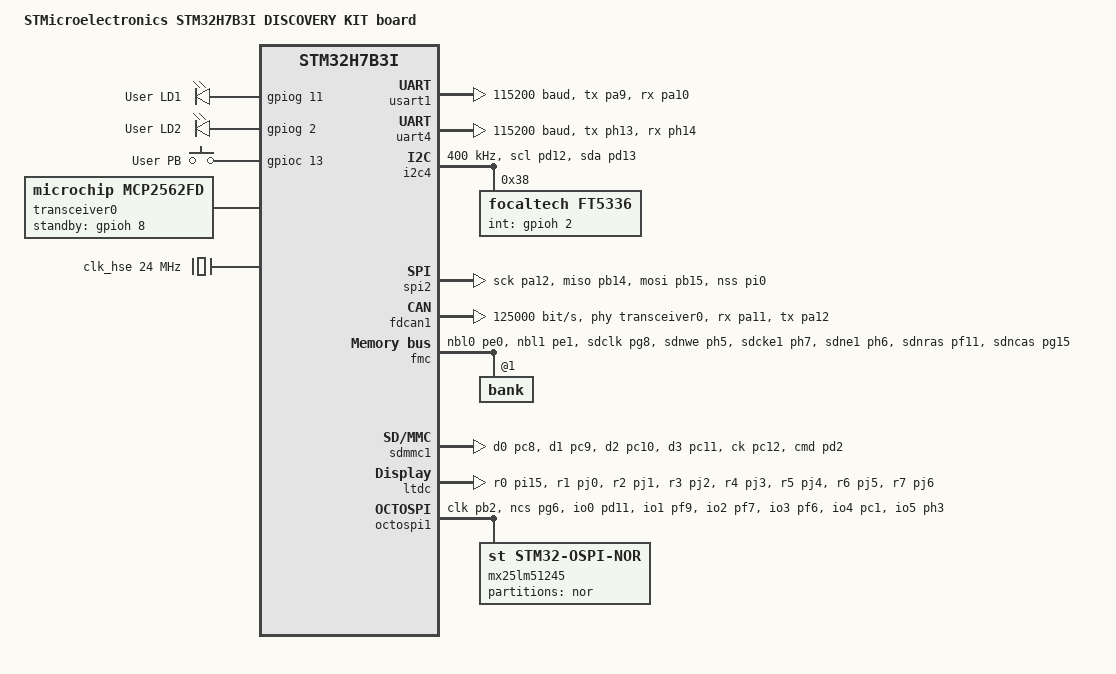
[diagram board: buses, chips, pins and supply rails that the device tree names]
/*
 * Copyright (c) 2022 Byte-Lab d.o.o. <dev@byte-lab.com>
 *
 * SPDX-License-Identifier: Apache-2.0
 */

/dts-v1/;
#include <st/h7/stm32h7b3Xi.dtsi>
#include <st/h7/stm32h7b3lihxq-pinctrl.dtsi>
#include <zephyr/dt-bindings/memory-attr/memory-attr-arm.h>
#include "arduino_r3_connector.dtsi"
#include <zephyr/dt-bindings/input/input-event-codes.h>

/ {
	model = "STMicroelectronics STM32H7B3I DISCOVERY KIT board";
	compatible = "st,stm32h7b3i-dk";

	chosen {
		zephyr,console = &usart1;
		zephyr,shell-uart = &usart1;
		zephyr,sram = &sram0;
		zephyr,flash = &flash0;
		zephyr,display = &ltdc;
		zephyr,canbus = &fdcan1;
	};

	leds {
		compatible = "gpio-leds";
		red_led: led_0 {
			gpios = <&gpiog 11 GPIO_ACTIVE_HIGH>;
			label = "User LD1";
		};
		blue_led: led_1 {
			gpios = <&gpiog 2 GPIO_ACTIVE_HIGH>;
			label = "User LD2";
		};
	};

	gpio_keys {
		compatible = "gpio-keys";
		user_button: button {
			label = "User PB";
			gpios = <&gpioc 13 GPIO_ACTIVE_HIGH>;
			zephyr,code = <INPUT_KEY_0>;
		};
	};

	lvgl_pointer {
		compatible = "zephyr,lvgl-pointer-input";
		input = <&ft5336>;
	};

	sdram2: sdram@d0000000 {
		compatible = "zephyr,memory-region", "mmio-sram";
		device_type = "memory";
		reg = <0xd0000000 DT_SIZE_M(16)>;
		zephyr,memory-region = "SDRAM2";
		zephyr,memory-attr = <( DT_MEM_ARM(ATTR_MPU_RAM) )>;
	};

	transceiver0: can-phy0 {
		compatible = "microchip,mcp2562fd", "can-transceiver-gpio";
		standby-gpios = <&gpioh 8 GPIO_ACTIVE_HIGH>;
		max-bitrate = <5000000>;
		#phy-cells = <0>;
	};

	aliases {
		led0 = &blue_led;
		led1 = &red_led;
		sw0 = &user_button;
		spi-flash0 = &mx25lm51245;
	};
};

&clk_hsi48 {
	status = "okay";
};

&clk_hse {
	clock-frequency = <DT_FREQ_M(24)>;
	status = "okay";
};

/* PLL1P is used for system clock (280 MHz), PLL1Q is used for FDCAN bit quantum clock (80 MHz) */
&pll {
	div-m = <12>;
	mul-n = <280>;
	div-p = <2>;
	div-q = <7>;
	div-r = <2>;
	clocks = <&clk_hse>;
	status = "okay";
};

/* PLL3R is used for outputting 9 MHz pixel clock for LTDC */
&pll3 {
	div-m = <8>;
	mul-n = <60>;
	div-p = <2>;
	div-q = <2>;
	div-r = <20>;
	clocks = <&clk_hse>;
	status = "okay";
};

&rcc {
	clocks = <&pll>;
	clock-frequency = <DT_FREQ_M(280)>;
	d1cpre = <1>;
	hpre = <1>;
	d1ppre = <2>;
	d2ppre1 = <2>;
	d2ppre2 = <2>;
	d3ppre = <2>;
};

&usart1 {
	pinctrl-0 = <&usart1_tx_pa9 &usart1_rx_pa10>;
	pinctrl-names = "default";
	current-speed = <115200>;
	status = "okay";
};

&uart4 {
	pinctrl-0 = <&uart4_tx_ph13 &uart4_rx_ph14>;
	pinctrl-names = "default";
	current-speed = <115200>;
	status = "okay";
};

&i2c4 {
	pinctrl-0 = <&i2c4_scl_pd12 &i2c4_sda_pd13>;
	pinctrl-names = "default";
	clock-frequency = <I2C_BITRATE_FAST>;
	status = "okay";

	ft5336: ft5336@38 {
		compatible = "focaltech,ft5336";
		reg = <0x38>;
		int-gpios = <&gpioh 2 0>;
	};
};

&spi2 {
	pinctrl-0 = <&spi2_sck_pa12 &spi2_miso_pb14 &spi2_mosi_pb15 &spi2_nss_pi0>;
	pinctrl-names = "default";
	status = "okay";
};

/* Connect solder bridges SB3, SB4 and SB5 to use CAN connector (CN21) */
&fdcan1 {
	pinctrl-0 = <&fdcan1_rx_pa11 &fdcan1_tx_pa12>;
	pinctrl-names = "default";
	clocks = <&rcc STM32_CLOCK_BUS_APB1_2 0x00000100>,
		 <&rcc STM32_SRC_PLL1_Q FDCAN_SEL(1)>;
	phys = <&transceiver0>;
	bus-speed = <125000>;
	bus-speed-data = <1000000>;
	sample-point = <875>;
	sample-point-data = <875>;
	status = "okay";
};

&fmc {
	pinctrl-0 = <&fmc_nbl0_pe0 &fmc_nbl1_pe1
		     &fmc_sdclk_pg8 &fmc_sdnwe_ph5 &fmc_sdcke1_ph7
		     &fmc_sdne1_ph6 &fmc_sdnras_pf11 &fmc_sdncas_pg15
		     &fmc_a0_pf0 &fmc_a1_pf1 &fmc_a2_pf2 &fmc_a3_pf3 &fmc_a4_pf4
		     &fmc_a5_pf5 &fmc_a6_pf12 &fmc_a7_pf13 &fmc_a8_pf14
		     &fmc_a9_pf15 &fmc_a10_pg0 &fmc_a11_pg1
		     &fmc_a14_pg4 &fmc_a15_pg5 &fmc_d0_pd14 &fmc_d1_pd15
		     &fmc_d2_pd0 &fmc_d3_pd1 &fmc_d4_pe7 &fmc_d5_pe8 &fmc_d6_pe9
		     &fmc_d7_pe10 &fmc_d8_pe11 &fmc_d9_pe12 &fmc_d10_pe13
		     &fmc_d11_pe14 &fmc_d12_pe15 &fmc_d13_pd8 &fmc_d14_pd9
		     &fmc_d15_pd10>;
	pinctrl-names = "default";
	status = "okay";

	sdram {
		status = "okay";
		power-up-delay = <100>;
		num-auto-refresh = <8>;
		mode-register = <0x220>;
		refresh-rate = <0x603>;
		bank@1 {
			reg = <1>;
			st,sdram-control = <STM32_FMC_SDRAM_NC_9
						STM32_FMC_SDRAM_NR_12
						STM32_FMC_SDRAM_MWID_16
						STM32_FMC_SDRAM_NB_4
						STM32_FMC_SDRAM_CAS_2
						STM32_FMC_SDRAM_SDCLK_PERIOD_3
						STM32_FMC_SDRAM_RBURST_ENABLE
						STM32_FMC_SDRAM_RPIPE_2>;
			st,sdram-timing = <2 7 4 7 2 2 2>;
		};
	};
};

&sdmmc1 {
	pinctrl-0 = <&sdmmc1_d0_pc8 &sdmmc1_d1_pc9
		     &sdmmc1_d2_pc10 &sdmmc1_d3_pc11
		     &sdmmc1_ck_pc12 &sdmmc1_cmd_pd2>;
	pinctrl-names = "default";
	cd-gpios = <&gpioi 8 (GPIO_ACTIVE_LOW | GPIO_PULL_UP)>;
	status = "okay";
};

&ltdc {
	pinctrl-0 = <&ltdc_r0_pi15 &ltdc_r1_pj0 &ltdc_r2_pj1 &ltdc_r3_pj2
		     &ltdc_r4_pj3 &ltdc_r5_pj4 &ltdc_r6_pj5 &ltdc_r7_pj6
		     &ltdc_g0_pj7 &ltdc_g1_pj8 &ltdc_g2_pj9 &ltdc_g3_pj10
		     &ltdc_g4_pj11 &ltdc_g5_pk0 &ltdc_g6_pk1 &ltdc_g7_pk2
		     &ltdc_b0_pj12 &ltdc_b1_pj13 &ltdc_b2_pj14 &ltdc_b3_pj15
		     &ltdc_b4_pk3 &ltdc_b5_pk4 &ltdc_b6_pk5 &ltdc_b7_pk6
		     &ltdc_de_pk7 &ltdc_clk_pi14 &ltdc_hsync_pi12 &ltdc_vsync_pi13>;
	pinctrl-names = "default";
	disp-on-gpios = <&gpioa 2 GPIO_ACTIVE_HIGH>;
	bl-ctrl-gpios = <&gpioa 1 GPIO_ACTIVE_HIGH>;
	ext-sdram = <&sdram2>;
	status = "okay";

	width = <480>;
	height = <272>;
	pixel-format = <PANEL_PIXEL_FORMAT_RGB_565>;
	display-timings {
		compatible = "zephyr,panel-timing";
		de-active = <0>;
		pixelclk-active = <0>;
		hsync-active = <0>;
		vsync-active = <0>;
		hsync-len = <1>;
		vsync-len = <10>;
		hback-porch = <43>;
		vback-porch = <12>;
		hfront-porch = <8>;
		vfront-porch = <4>;
	};
	def-back-color-red = <0xFF>;
	def-back-color-green = <0xFF>;
	def-back-color-blue = <0xFF>;
};

&octospi1 {
	pinctrl-0 = <&octospim_p1_clk_pb2 &octospim_p1_ncs_pg6
		     &octospim_p1_io0_pd11 &octospim_p1_io1_pf9
		     &octospim_p1_io2_pf7 &octospim_p1_io3_pf6
		     &octospim_p1_io4_pc1 &octospim_p1_io5_ph3
		     &octospim_p1_io6_pg9 &octospim_p1_io7_pd7
		     &octospim_p1_dqs_pc5>;
	pinctrl-names = "default";

	status = "okay";

	mx25lm51245: ospi-nor-flash@90000000 {
		compatible = "st,stm32-ospi-nor";
		reg = <0x90000000 DT_SIZE_M(64)>; /* 512 Mbits */
		ospi-max-frequency = <DT_FREQ_M(50)>;
		spi-bus-width = <OSPI_OPI_MODE>;
		data-rate = <OSPI_DTR_TRANSFER>;
		status = "okay";

		partitions {
			   compatible = "fixed-partitions";
			   #address-cells = <1>;
			   #size-cells = <1>;

			   partition@0 {
			       label = "nor";
			       reg = <0x00000000 DT_SIZE_M(4)>;
			   };
		};
	};
};
